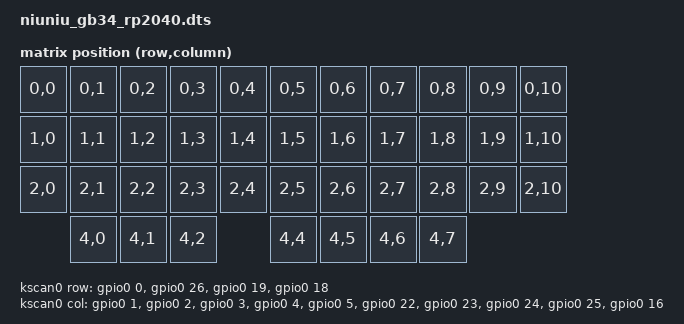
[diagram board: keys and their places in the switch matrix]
/*
 * Copyright (c) 2023 The ZMK Contributors
 * SPDX-License-Identifier: MIT
 */

/dts-v1/;

#include <rpi_pico/rp2040.dtsi>
#include <dt-bindings/zmk/matrix_transform.h>

//#include <layouts/common/65percent/ansi.dtsi>
#include "ortho1x2u.dtsi"
/ {

    chosen {
        zephyr,sram = &sram0;
        zephyr,flash = &flash0;
        zephyr,code-partition = &code_partition;
        zmk,kscan = &kscan0;
        zmk,physical-layout = &layout_GB34_ortho_1x2u;
    };

    xtal_clk: xtal-clk {
        compatible = "fixed-clock";
        clock-frequency = <12000000>;
        #clock-cells = <0>;
    };

    default_transform: keymap_transform_0 {
        compatible = "zmk,matrix-transform";
        columns = <15>;
        rows = <5>;

//  ------- Switch Matrix ----------
//
//  Column     0 |   1 |   2 |   3 |   4 |   5 |   6 |   7 |   8 |   9 |  10 |
//          ==================================================================
//  Row 0 ||  S0 |  S1 |  S2 |  S3 |  S4 |  S5 |  S6 |  S7 |  S8 |  S9 | S10 | 
//  Row 1 ||  S0 |  S1 |  S2 |  S3 |  S4 |  S5 |  S6 |  S7 |  S8 |  S9 | S10 |
//  Row 2 ||  S0 |  S1 |  S2 |  S3 |  S4 |  S5 |  S6 |  S7 |  S8 |  S9 | S10 |
//  Row 4 ||  S0 |  S1 |  S2 |     | S4  |     |  S5 |     |  S6 |  S7 | S8  |
//     -----------------------------------------------------------------------------------
//
        map = <
RC(0,0) RC(0,1) RC(0,2) RC(0,3) RC(0,4) RC(0,5) RC(0,6) RC(0,7) RC(0,8) RC(0,9) RC(0,10)
RC(1,0) RC(1,1) RC(1,2) RC(1,3) RC(1,4) RC(1,5) RC(1,6) RC(1,7) RC(1,8) RC(1,9) RC(1,10)
RC(2,0) RC(2,1) RC(2,2) RC(2,3) RC(2,4) RC(2,5) RC(2,6) RC(2,7) RC(2,8) RC(2,9) RC(2,10)
            RC(4,0) RC(4,1) RC(4,2)   RC(4,4)    RC(4,5) RC(4,6) RC(4,7) 
        >;
    };

    kscan0: kscan {
        compatible = "zmk,kscan-gpio-matrix";

        diode-direction = "col2row";
        row-gpios
            = <&gpio0 0 (GPIO_ACTIVE_HIGH | GPIO_PULL_DOWN)>
            , <&gpio0 26 (GPIO_ACTIVE_HIGH | GPIO_PULL_DOWN)>
            , <&gpio0 19 (GPIO_ACTIVE_HIGH | GPIO_PULL_DOWN)>
            , <&gpio0 18 (GPIO_ACTIVE_HIGH | GPIO_PULL_DOWN)>
            ;
        col-gpios
            = <&gpio0 1 GPIO_ACTIVE_HIGH>
            , <&gpio0 2 GPIO_ACTIVE_HIGH>
            , <&gpio0 3 GPIO_ACTIVE_HIGH>
            , <&gpio0 4  GPIO_ACTIVE_HIGH>
            , <&gpio0 5  GPIO_ACTIVE_HIGH>
            , <&gpio0 22 GPIO_ACTIVE_HIGH>
            , <&gpio0 23 GPIO_ACTIVE_HIGH>
            , <&gpio0 24 GPIO_ACTIVE_HIGH>
            , <&gpio0 25 GPIO_ACTIVE_HIGH>
            , <&gpio0 16 GPIO_ACTIVE_HIGH>
            ;
    };
};

&flash0 {
    reg = <0x10000000 DT_SIZE_M(16)>;

    partitions {
        compatible = "fixed-partitions";
        #address-cells = <1>;
        #size-cells = <1>;

        /* Reserved memory for the second stage bootloader */
        second_stage_bootloader: partition@0 {
            reg = <0x00000000 0x100>;
            read-only;
        };

        /*
         * Usable flash. Starts at 0x100, after the bootloader. The partition
         * size is 16MB minus the 0x100 bytes taken by the bootloader.
         */
        code_partition: partition@100 {
            reg = <0x100 (DT_SIZE_M(16) - 0x100)>;
            read-only;
        };
    };
};


zephyr_udc0: &usbd {
  status = "okay";
};


&gpio0 {
    status = "okay";
};

&layout_GB34_ortho_1x2u {
    transform = <&default_transform>;
};
